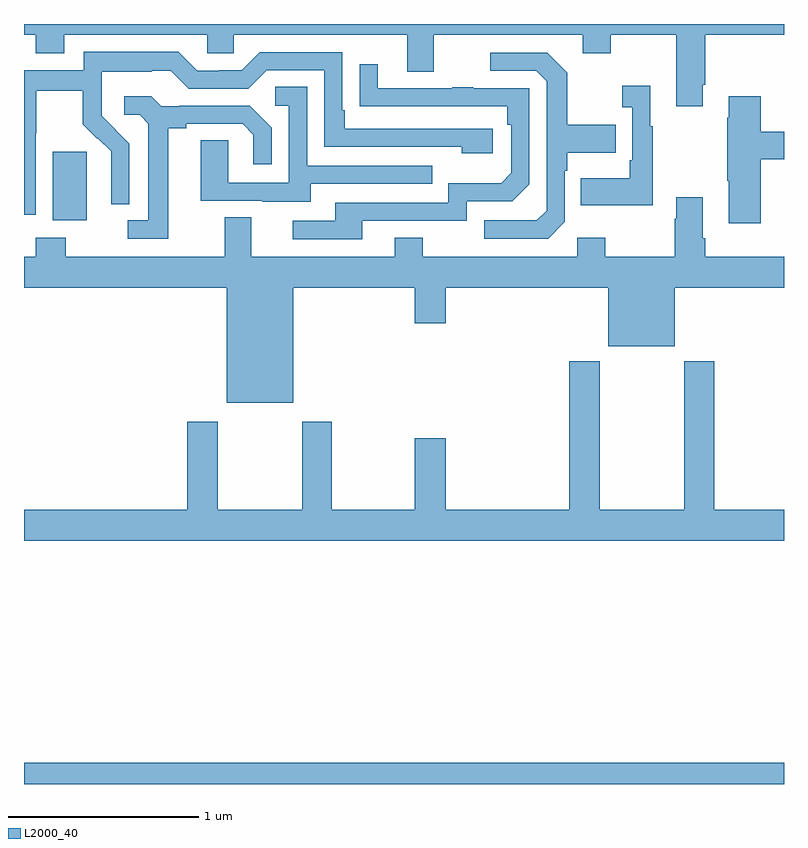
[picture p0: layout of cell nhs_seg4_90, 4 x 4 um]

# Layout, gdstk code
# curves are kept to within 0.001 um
import gdstk
lib = gdstk.Library(unit=1e-6, precision=1e-09)
def R(c, l, rs):  # rectangles x0, y0, x1, y1
    for r in rs: c.add(gdstk.rectangle(r[:2], r[2:], *l))
def P(c, l, *ps):  # polygons
    for p in ps: c.add(gdstk.Polygon(p, *l))
L2000_40 = (2000, 40)

nhs_seg4_90 = lib.new_cell('nhs_seg4_90')
R(nhs_seg4_90, L2000_40, [(115,768.9,119,769.012), (115.151,771.866,115.33,772.227)])
P(nhs_seg4_90, L2000_40, [(118.573,772.579),(118.586,772.579),(118.586,772.844),(119,772.844),(119,772.9),(115,772.9),(115,772.844),(115.061,772.844),(115.061,772.745),(115.213,772.745),(115.213,772.844),(115.965,772.844),(115.965,772.746),(116.103,772.746),(116.103,772.844),(117.017,772.844),(117.017,772.65),(117.157,772.65),(117.157,772.844),(117.941,772.844),(117.941,772.745),(118.089,772.745),(118.089,772.844),(118.433,772.844),(118.433,772.467),(118.573,772.467)],
  [(115.062,772.324),(115.065,772.324),(115.065,772.548),(115.309,772.548),(115.309,772.373),(115.386,772.296),(115.389,772.299),(115.46,772.229),(115.46,772.106),(115.458,772.106),(115.458,771.952),(115.554,771.952),(115.554,772.27),(115.408,772.418),(115.408,772.515),(115.41,772.515),(115.41,772.649),(115.673,772.649),(115.673,772.653),(115.773,772.653),(115.866,772.56),(116.181,772.56),(116.277,772.656),(116.58,772.656),(116.58,772.254),(117.305,772.254),(117.305,772.22),(117.466,772.22),(117.466,772.35),(116.689,772.35),(116.689,772.447),(116.676,772.447),(116.676,772.752),(116.241,772.752),(116.145,772.656),(116.027,772.656),(116.027,772.653),(115.911,772.653),(115.811,772.753),(115.314,772.753),(115.314,772.656),(115,772.656),(115,771.895),(115.062,771.895)],
  [(117.846,771.858),(117.846,772.127),(117.859,772.127),(117.859,772.223),(118.115,772.223),(118.115,772.371),(117.859,772.371),(117.859,772.643),(117.753,772.749),(117.453,772.749),(117.453,772.653),(117.696,772.653),(117.75,772.599),(117.75,771.918),(117.699,771.867),(117.423,771.867),(117.423,771.771),(117.759,771.771)],
  [(116.779,771.864),(117.33,771.864),(117.33,771.966),(117.57,771.966),(117.66,772.056),(117.66,772.563),(117.365,772.563),(117.365,772.568),(117.253,772.568),(117.253,772.563),(116.863,772.563),(116.863,772.687),(116.767,772.687),(116.767,772.468),(117.544,772.467),(117.544,772.37),(117.564,772.37),(117.564,772.116),(117.511,772.063),(117.234,772.063),(117.234,771.96),(116.639,771.96),(116.639,771.864),(116.415,771.864),(116.415,771.768),(116.779,771.768)],
  [(118.309,772.363),(118.297,772.363),(118.297,772.576),(118.149,772.576),(118.149,772.463),(118.2,772.463),(118.2,772.183),(118.188,772.183),(118.188,772.087),(117.931,772.087),(117.931,771.947),(118.309,771.947)],
  [(116.509,772.059),(117.149,772.059),(117.149,772.155),(116.49,772.155),(116.49,772.571),(116.322,772.571),(116.322,772.47),(116.394,772.47),(116.394,772.065),(116.076,772.065),(116.076,772.289),(115.931,772.289),(115.931,771.969),(116.255,771.969),(116.255,771.965),(116.509,771.965)],
  [(118.877,772.187),(119,772.187),(119,772.334),(118.877,772.334),(118.877,772.519),(118.709,772.519),(118.709,772.406),(118.702,772.406),(118.702,772.075),(118.709,772.075),(118.709,771.852),(118.877,771.852)],
  [(115.759,772.352),(115.855,772.352),(115.855,772.374),(116.15,772.374),(116.207,772.317),(116.207,772.161),(116.304,772.161),(116.304,772.354),(116.188,772.47),(115.816,772.47),(115.816,772.467),(115.722,772.467),(115.67,772.519),(115.527,772.519),(115.527,772.422),(115.608,772.422),(115.655,772.375),(115.655,771.867),(115.545,771.867),(115.545,771.771),(115.759,771.771)],
  [(116.416,771.512),(117.056,771.512),(117.056,771.324),(117.22,771.324),(117.22,771.512),(118.076,771.512),(118.076,771.203),(118.426,771.203),(118.426,771.512),(119,771.512),(119,771.676),(118.586,771.676),(118.586,771.772),(118.573,771.772),(118.573,771.988),(118.433,771.988),(118.433,771.875),(118.426,771.875),(118.426,771.676),(118.059,771.676),(118.059,771.775),(117.912,771.775),(117.912,771.676),(117.099,771.676),(117.099,771.775),(116.951,771.775),(116.951,771.676),(116.197,771.676),(116.197,771.884),(116.057,771.884),(116.057,771.676),(115.221,771.676),(115.221,771.775),(115.061,771.775),(115.061,771.676),(115,771.676),(115,771.512),(116.066,771.512),(116.066,770.906),(116.416,770.906)],
  [(119,770.344),(118.634,770.344),(118.634,771.124),(118.474,771.124),(118.474,770.344),(118.029,770.344),(118.029,771.124),(117.869,771.124),(117.869,770.344),(117.22,770.344),(117.22,770.719),(117.056,770.719),(117.056,770.344),(116.619,770.344),(116.619,770.806),(116.464,770.806),(116.464,770.344),(116.019,770.344),(116.019,770.806),(115.859,770.806),(115.859,770.344),(115,770.344),(115,770.18),(119,770.18)])

lib.write_gds('nhs_seg4_90.gds')
